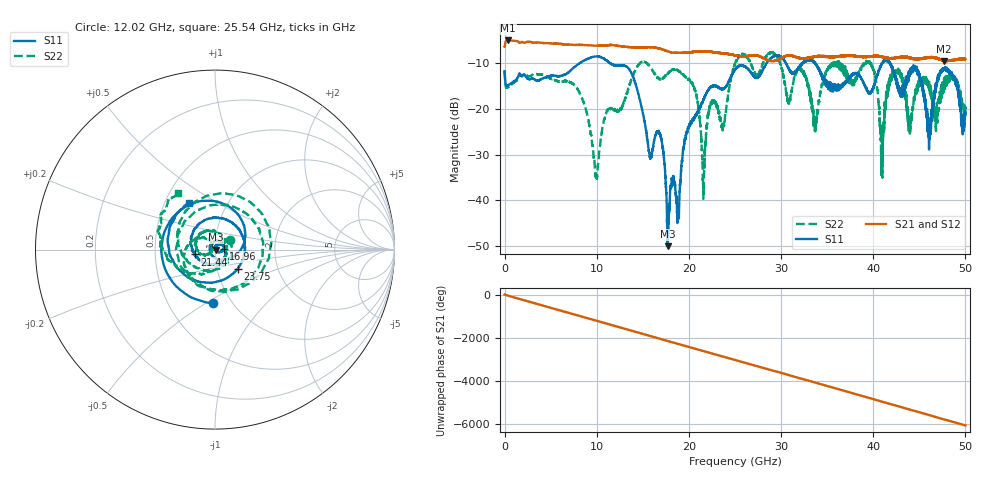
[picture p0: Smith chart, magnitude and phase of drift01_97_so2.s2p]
!Created with skrf (http://scikit-rf.org).
# Hz S RI R 50.0
!freq ReS11 ImS11 ReS21 ImS21 ReS12 ImS12 ReS22 ImS22
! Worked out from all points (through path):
!   10001 points, 300 kHz to 50 GHz, reference 50 ohm
!   highest |S21| = -5.05 dB at 390.3 MHz (marker M1); lowest = -9.6 dB at 47.67 GHz (marker M2)
!   group delay of S21, straight-line fit = 336 ps
!   lowest |S11| = -50.0 dB at 17.7 GHz (marker M3), VSWR 1.01, Z = 50.3 - j0.0787 ohm
!   |S11| at or under -10 dB: start of sweep to 8.154 GHz; 11.42 GHz to 28.43 GHz (17.01 GHz wide, 85.3 % of centre); 41.8 GHz to end of sweep (the widest 3 of 9)
!   |S22| runs from -39.7 to -7.6 dB; largest |S21 - S12| = 0.015
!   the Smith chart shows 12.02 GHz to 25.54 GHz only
!   S11 on the Smith chart (normalised r, x): 12.02 GHz: 0.82, -0.54; 16.96 GHz: 1.10, +0.01; 21.44 GHz: 0.80, -0.04; 23.75 GHz: 1.25, -0.28; 25.54 GHz: 0.66, +0.38
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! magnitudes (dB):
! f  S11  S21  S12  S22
! 300 kHz  -11.8  -6.4  -6.5  -11.7
! 390.3 MHz  -14.8  -5.0  -5.1  -15.2
! 8.335 GHz  -9.8  -6.0  -6.0  -17.5
! 9.935 GHz  -8.5  -6.2  -6.2  -34.4
! 12.02 GHz  -10.5  -6.2  -6.1  -20.4
! 16.67 GHz  -24.9  -6.8  -6.8  -13.3
! 16.96 GHz  -26.3  -6.9  -6.9  -13.3
! 17.7 GHz  -50.0  -7.4  -7.4  -12.3
! 20.5 GHz  -22.3  -7.6  -7.6  -14.9
! 21.44 GHz  -18.7  -7.4  -7.4  -30.2
! 22.47 GHz  -15.1  -7.5  -7.6  -19.0
! 23.75 GHz  -15.6  -7.9  -7.8  -23.4
! 25 GHz  -11.4  -8.3  -8.4  -10.4
! 25.54 GHz  -10.6  -8.5  -8.5  -8.4
! 33.34 GHz  -9.4  -8.7  -8.7  -19.8
! 39.49 GHz  -16.5  -8.6  -8.6  -9.9
! 40.95 GHz  -10.0  -8.6  -8.6  -29.5
! 41.67 GHz  -9.7  -8.8  -9.0  -14.7
! 44.76 GHz  -11.3  -9.1  -9.0  -14.9
! 46.1 GHz  -24.7  -8.8  -8.8  -14.7
! 47.67 GHz  -11.3  -9.6  -9.5  -14.6
! 50 GHz  -20.5  -9.1  -9.1  -20.1
